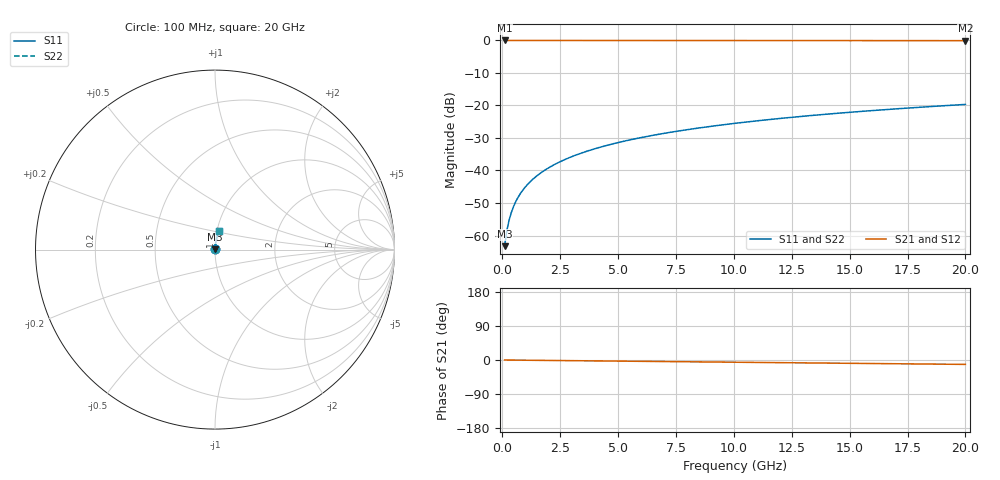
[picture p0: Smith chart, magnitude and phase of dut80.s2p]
! Touchstone file exported from HFSS 2026.1.0
!  File:  C:/ffzhzh/LocalFiles/Ansys_Project_Files/temp_train_TSV_80_1782959458_45308.aedt
!  Generated:  10:32:48 AM Jul  2, 2026
!  Design:  TSV
!  Project:  temp_train_TSV_80_1782959458_45308
! Variables:
!  h_bsmrdl = 2um
!  h_ox = 20um
!  h_rdl = 5um
!  h_sub = 97.29um
!  h_tmrdl = 5um
!  h_tsv = 97.29um
!  h_via = 3um
!  l_bsmrdl = 300um
!  l_sub = 411.32um
!  l_tmrdl = 200um
!  m_sub = 200um
!  pitch = 54.47um
!  r_tsv = 5.66um
!  s_tmrdl = 10um
!  w_bsmrdl = 18um
!  w_sub = 500um
!  w_tmrdl = 12um
!  x_tsv_center1 = 206um
!  x_tsv_center2 = 524um
!  x_tsv_center3 = 736um
!  x_tsv_center4 = 1054um
!  x_tsv_center5 = 1266um
!  x_tsv_center6 = 1584um
# GHz S MA R 50.000000
! Terminal data exported
! Port[1] = TSV1_1_T1
! Port[2] = TSV1_1_T2
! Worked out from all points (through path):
!   200 points, 100 MHz to 20 GHz, reference 50 ohm
!   highest |S21| = 0.00 dB at 100 MHz (marker M1); lowest = -0.1 dB at 20 GHz (marker M2)
!   group delay of S21, straight-line fit = 1.61 ps
!   lowest |S11| = -63.3 dB at 100 MHz (marker M3), VSWR 1.00, Z = 50 + j0.0572 ohm
!   |S11| at or under -10 dB: start of sweep to end of sweep
!   |S22| runs from -63.3 to -19.7 dB; largest |S21 - S12| = 5.9e-15
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0.1  0.0006856 56.5  0.9996 -0.1  0.9996 -0.1  0.0006856 56.5
! Gamma 0 0 0 0
! Port Impedance 50 0 50 0
0.2  0.001206 71.2  0.9996 -0.1  0.9996 -0.1  0.001206 71.2
0.3  0.001757 76.7  0.9996 -0.2  0.9996 -0.2  0.001757 76.7
0.4  0.002313 79.4  0.9996 -0.2  0.9996 -0.2  0.002313 79.4
0.5  0.002869 80.9  0.9996 -0.3  0.9996 -0.3  0.002869 80.9
0.6  0.003423 81.9  0.9995 -0.4  0.9995 -0.4  0.003423 81.9
0.7  0.003974 82.6  0.9995 -0.4  0.9995 -0.4  0.003974 82.6
0.8  0.004522 83.1  0.9995 -0.5  0.9995 -0.5  0.004522 83.1
1  0.005611 83.8  0.9994 -0.6  0.9994 -0.6  0.005611 83.8
1.4  0.007771 84.6  0.9993 -0.8  0.9993 -0.8  0.007771 84.6
1.7  0.009382 84.9  0.9993 -1.0  0.9993 -1.0  0.009382 84.9
2  0.01099 85.0  0.9992 -1.2  0.9992 -1.2  0.01099 85.0
2.7  0.01472 85.2  0.9991 -1.6  0.9991 -1.6  0.01472 85.2
3.5  0.01897 85.1  0.9989 -2.1  0.9989 -2.1  0.01897 85.1
4.2  0.02267 84.9  0.9987 -2.5  0.9987 -2.5  0.02267 84.9
5  0.02687 84.6  0.9985 -2.9  0.9985 -2.9  0.02687 84.6
6.8  0.03628 83.9  0.998 -4.0  0.998 -4.0  0.03628 83.9
8.3  0.04408 83.2  0.9975 -4.9  0.9975 -4.9  0.04408 83.2
10.1  0.05339 82.3  0.9969 -5.9  0.9969 -5.9  0.05339 82.3
13.4  0.07036 80.7  0.9957 -7.8  0.9957 -7.8  0.07036 80.7
16.7  0.08716 78.9  0.9941 -9.7  0.9941 -9.7  0.08716 78.9
20  0.1037 77.1  0.9923 -11.6  0.9923 -11.6  0.1037 77.1
